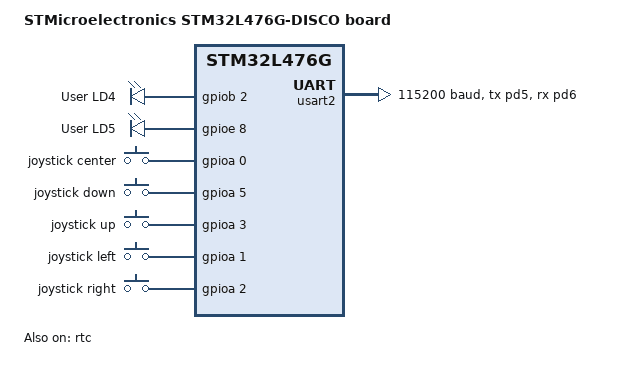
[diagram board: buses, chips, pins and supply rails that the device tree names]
/*
 * Copyright (c) 2017 Arthur Sfez
 *
 * Based on stm32l496g_disco:
 *
 * Copyright (c) 2017 Linaro Limited
 *
 * SPDX-License-Identifier: Apache-2.0
 */

/dts-v1/;
#include <st/l4/stm32l476Xg.dtsi>
#include <st/l4/stm32l476v(c-e-g)tx-pinctrl.dtsi>

/ {
	model = "STMicroelectronics STM32L476G-DISCO board";
	compatible = "st,stm32l476g-disco";

	chosen {
		zephyr,console = &usart2;
		zephyr,shell-uart = &usart2;
		zephyr,sram = &sram0;
		zephyr,flash = &flash0;
	};

	leds {
		compatible = "gpio-leds";
		green_led_4: led_4 {
			gpios = <&gpiob 2 GPIO_ACTIVE_HIGH>;
			label = "User LD4";
		};
		green_led_5: led_5 {
			gpios = <&gpioe 8 GPIO_ACTIVE_HIGH>;
			label = "User LD5";
		};
	};

	gpio_keys {
		compatible = "gpio-keys";
		joy_center: joystick_center {
			label = "joystick center";
			gpios = <&gpioa 0 (GPIO_ACTIVE_HIGH | GPIO_PULL_DOWN)>;
		};
		joy_down: joystick_down {
			label = "joystick down";
			gpios = <&gpioa 5 (GPIO_ACTIVE_HIGH | GPIO_PULL_DOWN)>;
		};
		joy_up: joystick_up {
			label = "joystick up";
			gpios = <&gpioa 3 (GPIO_ACTIVE_HIGH | GPIO_PULL_DOWN)>;
		};
		joy_left: joystick_left {
			label = "joystick left";
			gpios = <&gpioa 1 (GPIO_ACTIVE_HIGH | GPIO_PULL_DOWN)>;
		};
		joy_right: joystick_right {
			label = "joystick right";
			gpios = <&gpioa 2 (GPIO_ACTIVE_HIGH | GPIO_PULL_DOWN)>;
		};
	};

	aliases {
		led0 = &green_led_4;
		sw0 = &joy_center;
	};
};

&clk_lsi {
	status = "okay";
};

&clk_hsi {
	status = "okay";
};

&pll {
	div-m = <1>;
	mul-n = <20>;
	div-p = <7>;
	div-q = <2>;
	div-r = <4>;
	clocks = <&clk_hsi>;
	status = "okay";
};

&rcc {
	clocks = <&pll>;
	clock-frequency = <DT_FREQ_M(80)>;
	ahb-prescaler = <1>;
	apb1-prescaler = <1>;
	apb2-prescaler = <1>;
};

&usart2 {
	pinctrl-0 = <&usart2_tx_pd5 &usart2_rx_pd6>;
	pinctrl-names = "default";
	current-speed = <115200>;
	status = "okay";
};

&rtc {
	clocks = <&rcc STM32_CLOCK_BUS_APB1 0x10000000>,
		 <&rcc STM32_SRC_LSI RTC_SEL(2)>;
	status = "okay";

	backup_regs {
		status = "okay";
	};
};
